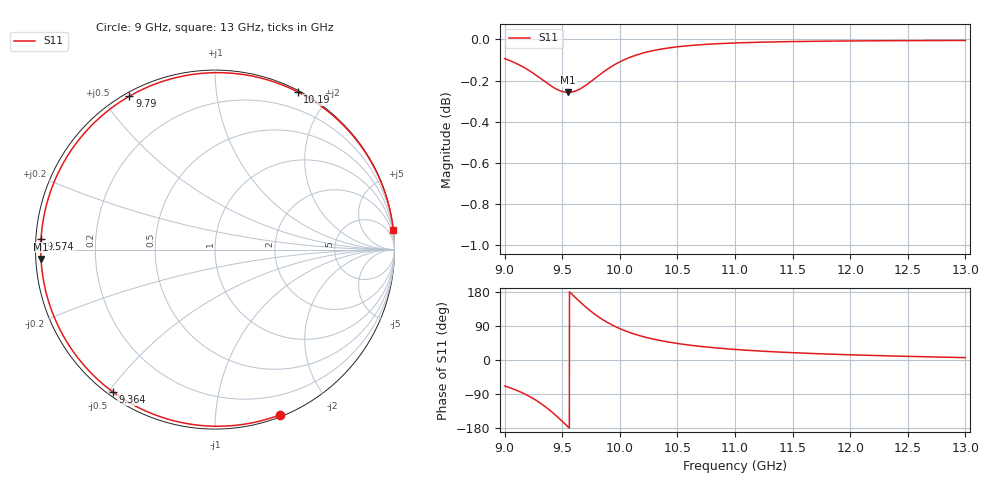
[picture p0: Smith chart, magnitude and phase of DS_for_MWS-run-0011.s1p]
! TOUCHSTONE file generated by CST DESIGN STUDIO
! Date and time: Tue Feb  4 18:02:14 2025
! Project name: C:\Work\MatlabApps\UnitCellOptimizationMatlab\CST\unitcell.cst
! Tree item: Tasks\Sweep1\SPara1\S-Parameters
! Header version: 2024
! Port assignment regex: !\s*Touchstone port\s*([0-9]+)\s*=\s*(CST MWS port|CST DES external port|CST DES block port)\s*(.+)\s* \(\"(.*)\"\)(\s*mode\s*([0-9]+))?.*
! Touchstone port assignment:
! Touchstone port 1 = CST DES external port 1 ("")
# GHz S MA R 50
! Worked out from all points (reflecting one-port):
!   4001 points, 9 GHz to 13 GHz, reference 50 ohm
!   lowest |S11| = -0.3 dB at 9.552 GHz (marker M1), VSWR 67.56, Z = 0.741 - j1.35 ohm
!   phase of S11 starts at -69 deg and turns -285 deg over the sweep
!   S11 on the Smith chart (normalised r, x): 9 GHz: 0.02, -1.47; 9.364 GHz: 0.02, -0.51; 9.574 GHz: 0.01, +0.03; 9.79 GHz: 0.01, +0.59; 10.19 GHz: 0.01, +1.65; 13 GHz: 0, +18
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9  0.9893 -68.5
9.039  0.9884 -72.5
9.105  0.9866 -80.1
9.217  0.9826 -96.4
9.295  0.9792 -110.7
9.364  0.9761 -125.8
9.43  0.9733 -142.3
9.5  0.9713 -161.7
9.552  0.9708 -176.9
9.574  0.9709 176.6
9.629  0.9719 160.6
9.689  0.974 143.9
9.739  0.9763 131.1
9.79  0.9787 119.2
9.835  0.9809 109.7
9.884  0.9832 100.5
9.938  0.9854 91.6
10  0.9876 82.8
10.093  0.9902 71.8
10.194  0.9923 62.4
10.334  0.9943 52.4
10.5  0.9959 43.6
10.721  0.9972 35.2
11  0.998 27.9
11.5  0.9988 19.3
12  0.9992 13.7
12.5  0.9994 9.6
13  0.9994 6.2
